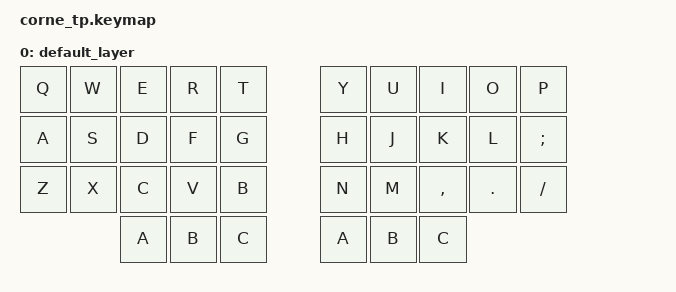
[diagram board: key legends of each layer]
/*
 * Copyright (c) 2020 The ZMK Contributors
 *
 * SPDX-License-Identifier: MIT
 */

#include <behaviors.dtsi>
#include <dt-bindings/zmk/keys.h>
#include <dt-bindings/zmk/bt.h>
#include "mouse_tp.dtsi"
#include <dt-bindings/zmk/mouse.h>
#include <behaviors/mouse_keys.dtsi>
#define HAS_MOUSE_KEYS
#define HAS_MOUSE_TP

/ {
        keymap {
                compatible = "zmk,keymap";

                default_layer {
// -----------------------------------------------------------------------------------------
// |  TAB |  Q  |  W  |  E  |  R  |  T  |   |  Y  |  U   |  I  |  O  |  P  | BKSP |
// | CTRL |  A  |  S  |  D  |  F  |  G  |   |  H  |  J   |  K  |  L  |  ;  |  '   |
// | SHFT |  Z  |  X  |  C  |  V  |  B  |   |  N  |  M   |  ,  |  .  |  /  | ESC  |
//                    | GUI | LWR | SPC |   | ENT | RSE  | ALT |
                        bindings = <
   &kp Q &kp W &kp E &kp R &kp T   &kp Y &kp U  &kp I     &kp O   &kp P   
   &kp A &kp S &kp D &kp F &kp G   &kp H &kp J  &kp K     &kp L   &kp SEMI
   &kp Z &kp X &kp C &kp V &kp B   &kp N &kp M  &kp COMMA &kp DOT &kp FSLH
               &kp A &kp B &kp C   &kp A &kp B &kp C
                        >;
                };
        };
};
